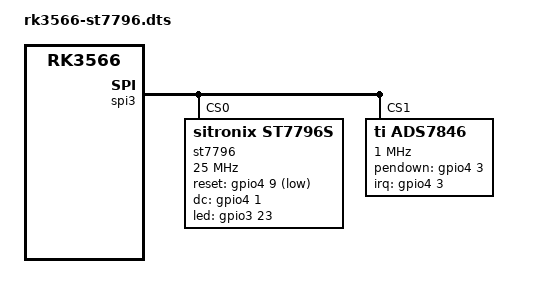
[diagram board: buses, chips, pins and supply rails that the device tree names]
/dts-v1/;
/plugin/;

/ {
    compatible = "rockchip,rk3566";

    fragment@0 {
	target = <&spi3>;
	__overlay__ {
	    num-cs = <2>;
	    
		/* GPIO4_A6=CS0, GPIO4_A7=CS1 */
		/* cs-gpios = <&gpio4 6 0>,
			<&gpio4 7 0>;*/
	    status = "okay";
	    #address-cells = <1>;
	    #size-cells = <0>;

	    st7796: st7796s@0{
		compatible = "sitronix,st7796s";
		reg = <0>;
		spi-max-frequency = <25000000>;
		fps = <30>;
		buswidth = <8>;
		reset-gpios = <&gpio4 9 1>;  /* GPIO4_B1 */
		dc-gpios = <&gpio4 1 0>;     /* GPIO4_A1  */
		rotate = <270>;
		debug = <1>;
		led-gpios = <&gpio3 23 0>;
	    };
	};
    };

    fragment@1 {
	target = <&spi3>;
    __overlay__ {
	#address-cells = <1>;
        #size-cells = <0>;
	status = "okay";
	ads7846@0 {
	    compatible = "ti,ads7846";
	    reg = <1>;
	    status = "okay";
	    spi-max-frequency = <1000000>;
	    interrupt-parent = <&gpio4>;   /* GPIO4_A3 */
	    interrupts = <3 2>; /* high-to-low edge triggered */
	    pendown-gpio = <&gpio4 3 0>;	    

	    /* driver defaults, optional */

           ti,keep-vref-on = <1>;
           ti,x-min = /bits/ 16 <00>;
           ti,x-max = /bits/ 16 <0xFFF>;
           ti,y-min = /bits/ 16 <00>;
           ti,y-max = /bits/ 16 <0xFFF>;
           ti,x-plate-ohms = /bits/ 16 <60>;
           ti,pressure-max = /bits/ 16 <255>;
            ti,swap-xy = <0>;	};
    };
    };


};
